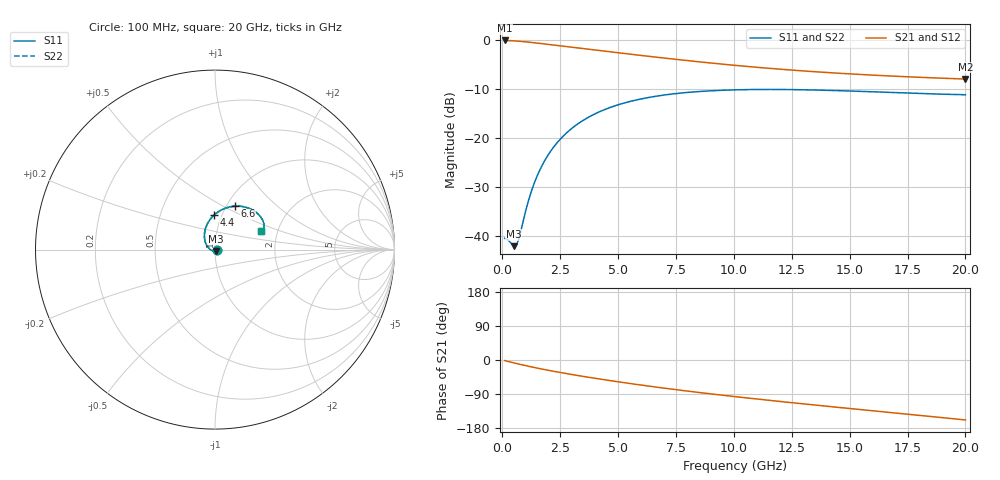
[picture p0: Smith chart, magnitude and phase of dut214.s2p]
! Touchstone file exported from HFSS 2023.1.0
!  File:  D:/Users/fzz/RDL_TSV/temp_RDL_TSV_214_1778757411.aedt
!  Generated:  7:26:59 %x4E0B%x5348  5%x6708 14, 2026
!  Design:  RDL_TSV
!  Project:  temp_RDL_TSV_214_1778757411
!  Setup:  Setup1
!  Solution:  Sweep
! Variables:
!  dtsv = 10.9um
!  hbump = 3um
!  htsv = 72.98um
!  ldown = 542.48um
!  lrdl = 133.8um
!  p = 40
!  p1 = 57.82um
!  rhole = 10um
!  subl = 2162.64um
!  t = 450um
!  tdown = 3.64um
!  trdl = 3.59um
!  viad = 10um
!  wdown = 23.94um
!  wrdl = 26.76um
!  xbump = 18um
# GHz S MA R 50.000000
! Terminal data exported
! Port[1] = TM1_1_T1
! Port[2] = TM1_4_T1
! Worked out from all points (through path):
!   200 points, 100 MHz to 20 GHz, reference 50 ohm
!   highest |S21| = -0.09 dB at 100 MHz (marker M1); lowest = -8.0 dB at 20 GHz (marker M2)
!   group delay of S21, straight-line fit = 20.5 ps
!   lowest |S11| = -42.1 dB at 500 MHz (marker M3), VSWR 1.02, Z = 50.3 - j0.734 ohm
!   |S11| at or under -10 dB: start of sweep to end of sweep
!   |S22| runs from -42.1 to -10.1 dB; largest |S21 - S12| = 1e-14
!   S11 on the Smith chart (normalised r, x): 100 MHz: 1.02, -0.00; 4.4 GHz: 0.92, +0.37; 6.6 GHz: 1.09, +0.57; 20 GHz: 1.63, +0.37
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0.1  0.009422 -8.3  0.99 -1.6  0.99 -1.6  0.009423 -8.3
! Gamma 0 0 0 0
! Port Impedance 50 0 50 0
0.2  0.009261 -18.5  0.9885 -3.1  0.9885 -3.1  0.009263 -18.5
0.5  0.007851 -68.3  0.9808 -7.6  0.9808 -7.6  0.007859 -68.3
0.6  0.008004 -92.4  0.9772 -9.1  0.9772 -9.1  0.008012 -92.3
0.7  0.0091 -116.3  0.9733 -10.5  0.9733 -10.5  0.009104 -116.2
1  0.0176 -163.6  0.9593 -14.7  0.9593 -14.7  0.01759 -163.5
1.2  0.02595 179.4  0.9485 -17.4  0.9485 -17.4  0.02592 179.5
1.5  0.04064 162.1  0.9312 -21.3  0.9312 -21.3  0.04059 162.1
1.8  0.0569 149.3  0.9131 -25.0  0.9131 -25.0  0.05683 149.4
2.1  0.07394 139.0  0.895 -28.5  0.895 -28.5  0.07385 139.1
2.5  0.09697 127.6  0.8713 -33.0  0.8713 -33.0  0.09686 127.6
3  0.1251 115.7  0.8428 -38.3  0.8428 -38.3  0.125 115.8
3.5  0.1517 105.7  0.8157 -43.3  0.8157 -43.3  0.1515 105.8
4.4  0.194 91.0  0.7698 -52.0  0.7698 -52.0  0.1938 91.0
5.4  0.2321 78.0  0.7223 -61.1  0.7223 -61.1  0.2319 78.0
6.6  0.2659 65.5  0.6701 -71.2  0.6701 -71.2  0.2657 65.5
6.8  0.2704 63.7  0.6619 -72.8  0.6619 -72.8  0.2702 63.7
8.4  0.2968 51.3  0.6022 -85.1  0.6022 -85.1  0.2967 51.3
10.1  0.3101 41.3  0.5499 -97.0  0.5499 -97.0  0.31 41.3
13.4  0.3091 28.6  0.4764 -118.2  0.4764 -118.2  0.3091 28.6
16.7  0.292 22.6  0.4298 -138.3  0.4298 -138.3  0.2922 22.6
20  0.2762 22.3  0.3996 -158.2  0.3996 -158.2  0.2764 22.2
